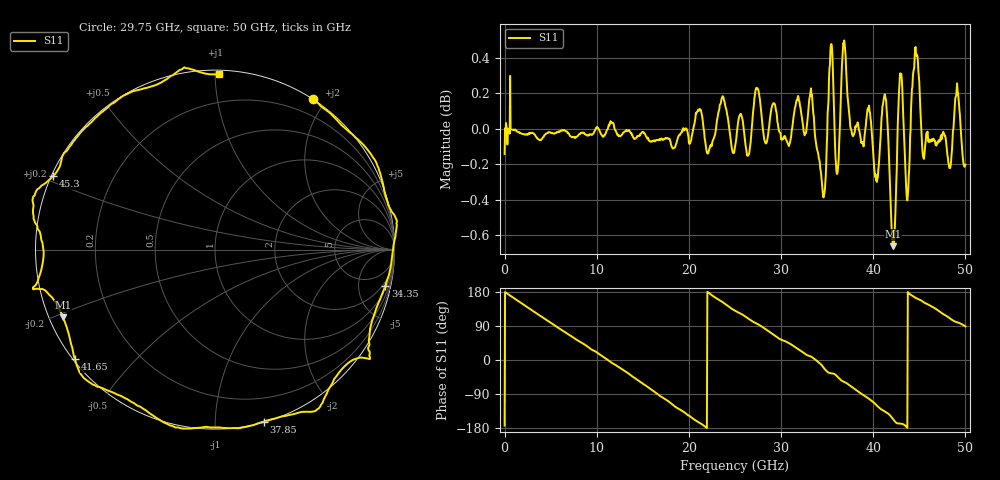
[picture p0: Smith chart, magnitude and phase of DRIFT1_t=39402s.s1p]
!Created with skrf (http://scikit-rf.org).
# Hz S RI R 50.0
!freq ReS11 ImS11
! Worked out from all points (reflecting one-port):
!   1001 points, 300 kHz to 50 GHz, reference 50 ohm
!   lowest |S11| = -0.7 dB at 42.15 GHz (marker M1), VSWR 26.24, Z = 1.99 - j10.6 ohm
!   phase of S11 starts at -173 deg and turns -818 deg over the sweep
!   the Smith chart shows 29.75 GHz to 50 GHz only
!   S11 on the Smith chart (normalised r, x): 29.75 GHz: 0.00, +1.85; 34.35 GHz: 1.34, -9.35; 37.85 GHz: 0.01, -1.32; 41.65 GHz: 0.01, -0.34; 45.3 GHz: 0.01, +0.22; 50 GHz: 0.02, +1.02
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300000  -0.9766 -0.1183
1.450291e9  -0.9123 0.4044
3.25028e9  -0.5924 0.801
6.250262e9  0.2009 0.9787
9.500243e9  0.8916 0.444
1.250022e10  0.9323 -0.3484
1.580021e10  0.2402 -0.9621
1.73502e10  -0.2089 -0.9714
1.875019e10  -0.5968 -0.7941
2.150017e10  -0.9928 -0.1562
2.345016e10  -0.9287 0.4129
2.500015e10  -0.6347 0.7576
2.740014e10  -0.0989 1.022
2.975012e10  0.5466 0.8365
3.125011e10  0.7853 0.6229
3.31501e10  1.007 0.176
3.435009e10  0.9496 -0.2013
3.520009e10  0.8619 -0.5698
3.750008e10  0.3738 -0.9292
3.785007e10  0.2729 -0.9578
3.960006e10  -0.2353 -0.9833
4.165005e10  -0.7813 -0.6094
4.215005e10  -0.8467 -0.3763
4.290004e10  -1.013 -0.2215
4.375004e10  -0.9577 0.0101
4.530003e10  -0.9005 0.4096
4.770001e10  -0.4944 0.8653
5e10  0.0213 0.9767
